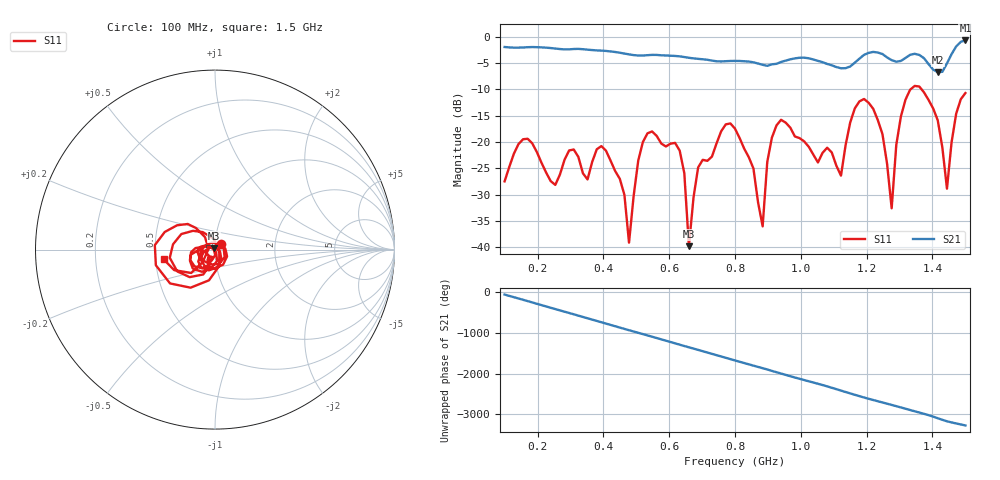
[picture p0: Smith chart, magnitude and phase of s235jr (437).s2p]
! NanoVNA-App
! Date: 2025-09-25 15:07:34
! Start: 100MHz Stop: 1,5GHz Points: 101
! S-Parameter data: F S11 S21 S12 S22
# Hz S RI R 50
!  Frequency  S11_Real  S11_Imag  S21_Real  S21_Imag  S12_Real  S12_Imag  S22_Real  S22_Imag
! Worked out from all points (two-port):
!   101 points, 100 MHz to 1.5 GHz, reference 50 ohm
!   highest |S21| = -0.72 dB at 1.5 GHz (marker M1); lowest = -6.7 dB at 1.416 GHz (marker M2)
!   |S21| within 3 dB of the highest: start of sweep to 629.2 MHz; 1.187 GHz to 1.257 GHz (70.46 MHz wide, 5.77 % of centre) (the widest 2 of 4)
!   lowest |S11| = -39.8 dB at 660 MHz (marker M3), VSWR 1.02, Z = 49.2 + j0.642 ohm
!   |S11| at or under -10 dB: start of sweep to 1.333 GHz; 1.367 GHz to end of sweep
!   S12 and S22 are empty: the file has one direction only
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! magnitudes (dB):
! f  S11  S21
! 100 MHz  -27.5  -2.0
! 170 MHz  -19.4  -2.0
! 338 MHz  -25.9  -2.4
! 408 MHz  -21.6  -2.7
! 478 MHz  -39.1  -3.4
! 520 MHz  -20.0  -3.6
! 576 MHz  -20.3  -3.5
! 632 MHz  -21.6  -3.7
! 660 MHz  -39.8  -4.0
! 688 MHz  -24.8  -4.2
! 800 MHz  -17.5  -4.6
! 884 MHz  -36.0  -5.3
! 926 MHz  -16.9  -5.2
! 1.038 GHz  -22.4  -4.3
! 1.122 GHz  -26.4  -6.0
! 1.192 GHz  -11.8  -3.5
! 1.248 GHz  -18.5  -3.3
! 1.276 GHz  -32.6  -4.5
! 1.332 GHz  -10.1  -3.4
! 1.416 GHz  -15.9  -6.7
! 1.444 GHz  -28.9  -5.1
! 1.5 GHz  -10.7  -0.7
